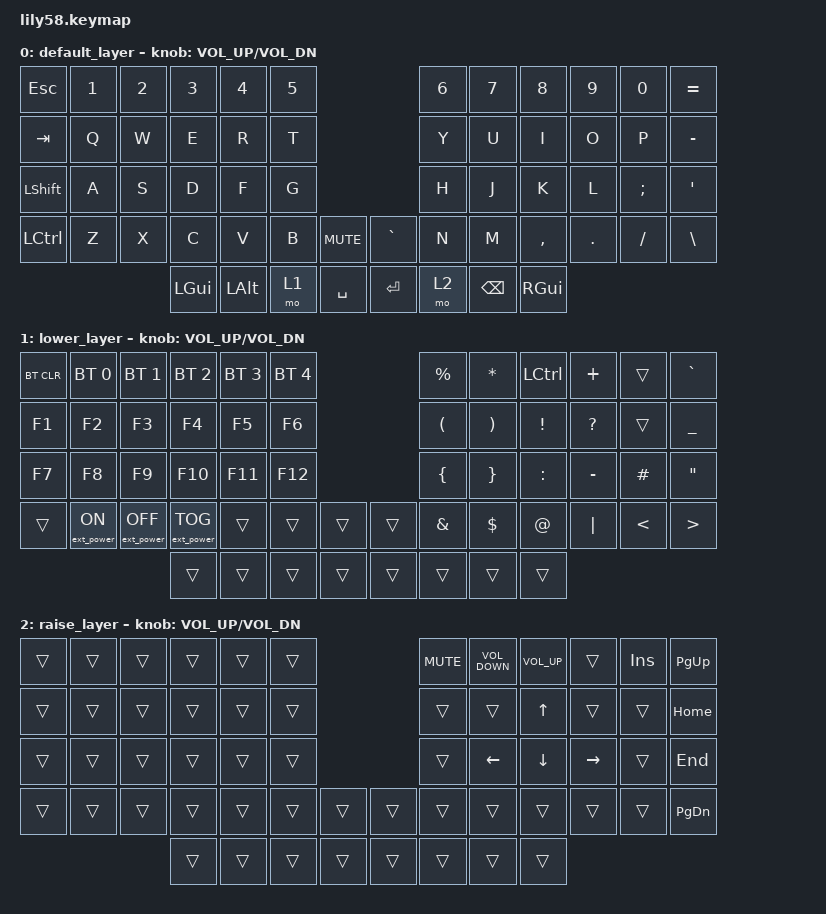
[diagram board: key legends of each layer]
/*
 * Copyright (c) 2020 The ZMK Contributors
 *
 * SPDX-License-Identifier: MIT
 */

#include <behaviors.dtsi>
#include <dt-bindings/zmk/bt.h>
#include <dt-bindings/zmk/ext_power.h>
#include <dt-bindings/zmk/keys.h>

/ {
    keymap {
        compatible = "zmk,keymap";

        default_layer {
            // ------------------------------------------------------------------------------------------------------------
            // |  ESC  |  1  |  2  |  3   |  4   |  5   |                   |  6   |  7    |  8    |  9   |   0   |   `   |
            // |  TAB  |  Q  |  W  |  E   |  R   |  T   |                   |  Y   |  U    |  I    |  O   |   P   |   -   |
            // |  CTRL |  A  |  S  |  D   |  F   |  G   |                   |  H   |  J    |  K    |  L   |   ;   |   '   |
            // | SHIFT |  Z  |  X  |  C   |  V   |  B   |   "["  |  |  "]"  |  N   |  M    |  ,    |  .   |   /   | SHIFT |
            //                     | ALT  | GUI  | LOWER|  SPACE |  | ENTER | RAISE| BSPC  | GUI   |

            bindings = <
&kp ESC           &kp N1  &kp N2  &kp N3    &kp N4        &kp N5                           &kp N6  &kp N7    &kp N8     &kp N9   &kp N0    &kp EQUAL
&kp TAB           &kp Q   &kp W   &kp E     &kp R         &kp T                            &kp Y   &kp U     &kp I      &kp O    &kp P     &kp MINUS
&kp LEFT_SHIFT    &kp A   &kp S   &kp D     &kp F         &kp G                            &kp H   &kp J     &kp K      &kp L    &kp SEMI  &kp SQT
&kp LEFT_CONTROL  &kp Z   &kp X   &kp C     &kp V         &kp B   &kp C_MUTE    &kp GRAVE  &kp N   &kp M     &kp COMMA  &kp DOT  &kp FSLH  &kp BACKSLASH
                                  &kp LGUI  &kp LEFT_ALT  &mo 1   &kp SPACE     &kp RET    &mo 2   &kp BSPC  &kp RGUI
            >;

            sensor-bindings = <&inc_dec_kp C_VOL_UP C_VOL_DN>;
        };

        lower_layer {
            // ------------------------------------------------------------------------------------------------------------
            // | BTCLR | BT1 | BT2 |  BT3 |  BT4 |  BT5 |                   |      |       |       |      |       |       |
            // |  F1   |  F2 |  F3 |  F4  |  F5  |  F6  |                   |  F7  |  F8   |  F9   |  F10 |  F11  |  F12  |
            // |   `   |  !  |  @  |  #   |  $   |  %   |                   |  ^   |  &    |  *    |  (   |   )   |   ~   |
            // |       |     |     |      |      |      |        |  |       |      |  _    |  +    |  {   |   }   |  "|"  |
            //                     |      |      |      |        |  |       |      |       |       |

            bindings = <
&bt BT_CLR  &bt BT_SEL 0      &bt BT_SEL 1       &bt BT_SEL 2       &bt BT_SEL 3  &bt BT_SEL 4                    &kp PERCENT           &kp ASTERISK           &kp LCTRL        &kp PLUS      &trans         &kp GRAVE
&kp F1      &kp F2            &kp F3             &kp F4             &kp F5        &kp F6                          &kp LEFT_PARENTHESIS  &kp RIGHT_PARENTHESIS  &kp EXCLAMATION  &kp QUESTION  &trans         &kp UNDERSCORE
&kp F7      &kp F8            &kp F9             &kp F10            &kp F11       &kp F12                         &kp LEFT_BRACE        &kp RIGHT_BRACE        &kp COLON        &kp MINUS     &kp HASH       &kp DOUBLE_QUOTES
&trans      &ext_power EP_ON  &ext_power EP_OFF  &ext_power EP_TOG  &trans        &trans        &trans    &trans  &kp AMPERSAND         &kp DOLLAR             &kp AT_SIGN      &kp PIPE      &kp LESS_THAN  &kp GREATER_THAN
                                                 &trans             &trans        &trans        &trans    &trans  &trans                &trans                 &trans
            >;

            sensor-bindings = <&inc_dec_kp C_VOL_UP C_VOL_DN>;
        };

        raise_layer {
            // ------------------------------------------------------------------------------------------------------------
            // |       |     |     |      |      |      |                   |      |       |       |      |       |       |
            // |   `   |  1  |  2  |  3   |  4   |  5   |                   |  6   |   7   |   8   |  9   |   0   |       |
            // |   F1  |  F2 |  F3 |  F4  |  F5  |  F6  |                   |      |   <-  |   v   |  ^   |  ->   |       |
            // |   F7  |  F8 |  F9 |  F10 |  F11 |  F12 |        |  |       |  +   |   -   |   =   |  [   |   ]   |   \   |
            //                     |      |      |      |        |  |       |      |       |       |

            bindings = <
&trans  &trans  &trans  &trans  &trans  &trans                    &kp C_MUTE  &kp C_VOLUME_DOWN  &kp C_VOLUME_UP  &trans           &kp INSERT  &kp PAGE_UP
&trans  &trans  &trans  &trans  &trans  &trans                    &trans      &trans             &kp UP_ARROW     &trans           &trans      &kp HOME
&trans  &trans  &trans  &trans  &trans  &trans                    &trans      &kp LEFT_ARROW     &kp DOWN_ARROW   &kp RIGHT_ARROW  &trans      &kp END
&trans  &trans  &trans  &trans  &trans  &trans  &trans    &trans  &trans      &trans             &trans           &trans           &trans      &kp PAGE_DOWN
                        &trans  &trans  &trans  &trans    &trans  &trans      &trans             &trans
            >;

            sensor-bindings = <&inc_dec_kp C_VOL_UP C_VOL_DN>;
        };
    };
};
